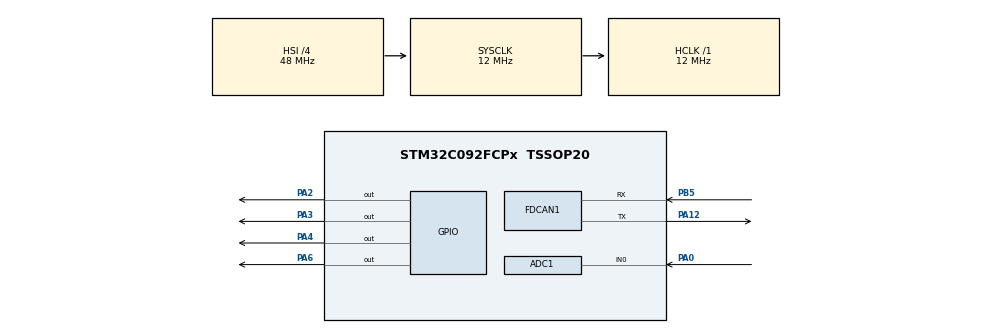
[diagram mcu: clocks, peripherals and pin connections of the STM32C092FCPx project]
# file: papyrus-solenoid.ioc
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ADC1.ClockPrescaler=ADC_CLOCK_SYNC_PCLK_DIV4
ADC1.ContinuousConvMode=DISABLE
ADC1.DMAContinuousRequests=ENABLE
ADC1.EOCSelection=ADC_EOC_SEQ_CONV
ADC1.ExternalTrigConv=ADC_EXTERNALTRIG_T2_TRGO
ADC1.NbrOfConversionFlag=0
ADC1.Overrun=ADC_OVR_DATA_OVERWRITTEN
ADC1.SamplingTimeCommon1=ADC_SAMPLETIME_79CYCLES_5
ADC1.SelectedChannel=ADC_CHANNEL_0|ADC_CHANNEL_VREFINT
ADC1.master=1
Dma.ADC1.0.Direction=DMA_PERIPH_TO_MEMORY
Dma.ADC1.0.EventEnable=DISABLE
Dma.ADC1.0.Instance=DMA1_Channel1
Dma.ADC1.0.MemDataAlignment=DMA_MDATAALIGN_HALFWORD
Dma.ADC1.0.MemInc=DMA_MINC_ENABLE
Dma.ADC1.0.Mode=DMA_CIRCULAR
Dma.ADC1.0.PeriphDataAlignment=DMA_PDATAALIGN_HALFWORD
Dma.ADC1.0.PeriphInc=DMA_PINC_DISABLE
Dma.ADC1.0.Polarity=HAL_DMAMUX_REQ_GEN_RISING
Dma.ADC1.0.Priority=DMA_PRIORITY_LOW
Dma.ADC1.0.RequestNumber=1
Dma.ADC1.0.SignalID=NONE
Dma.ADC1.0.SyncEnable=DISABLE
Dma.ADC1.0.SyncPolarity=HAL_DMAMUX_SYNC_NO_EVENT
Dma.ADC1.0.SyncRequestNumber=1
Dma.ADC1.0.SyncSignalID=NONE
Dma.Request0=ADC1
FDCAN1.AutoRetransmission=ENABLE
FDCAN1.CalculateBaudRateNominal=250000
FDCAN1.CalculateTimeBitNominal=4000
FDCAN1.CalculateTimeQuantumNominal=250.0
FDCAN1.DataPrescaler=1
FDCAN1.DataTimeSeg1=1
FDCAN1.DataTimeSeg2=1
FDCAN1.NominalPrescaler=4
FDCAN1.NominalTimeSeg1=13
FDCAN1.NominalTimeSeg2=2
FDCAN1.StdFiltersNbr=1
Mcu.Family=STM32C0
Mcu.Name=STM32C092FCPx
Mcu.Package=TSSOP20
NVIC.DMA1_Channel1_IRQn=true\:0\:0\:false\:false\:true\:false\:true\:true
PA0.Mode=IN0
PA0.Signal=ADC1_IN0
PA12\ [PA10].Mode=FDCAN_Activate
PA12\ [PA10].Signal=FDCAN1_TX
PA13.Mode=Serial_Wire
PA13.Signal=DEBUG_SWDIO
PA14-BOOT0.Mode=Serial_Wire
PA14-BOOT0.Signal=DEBUG_SWCLK
PA14-BOOT0__PA15.StandardMode=true
PA2.GPIO_PuPd=GPIO_PULLUP
PA2.PinState=GPIO_PIN_SET
PA2.Signal=GPIO_Output
PA3.GPIO_PuPd=GPIO_PULLUP
PA3.PinState=GPIO_PIN_SET
PA3.Signal=GPIO_Output
PA4.GPIO_PuPd=GPIO_PULLUP
PA4.PinState=GPIO_PIN_SET
PA4.Signal=GPIO_Output
PA6.Signal=GPIO_Output
PB0__PB1__PB2__PA8.StandardMode=true
PB3__PB4__PB5__PB6.StandardMode=true
PB5.Mode=FDCAN_Activate
PB5.Signal=FDCAN1_RX
PB7__PB8.StandardMode=true
ProjectManager.HeapSize=0x200
ProjectManager.StackSize=0x400
ProjectManager.TargetToolchain=Makefile
RCC.ADCFreq_Value=12000000
RCC.AHBFreq_Value=12000000
RCC.CortexFreq_Value=12000000
RCC.EXTERNAL_CLOCK_VALUE=12288000
RCC.FDCAN1CLockSelection=RCC_FDCAN1CLKSOURCE_HSIKER
RCC.HCLKFreq_Value=12000000
RCC.HSE_VALUE=8000000
RCC.HSI_VALUE=48000000
RCC.LSE_VALUE=32768
RCC.SYSCLKFreq_VALUE=12000000
TIM2.AutoReloadPreload=TIM_AUTORELOAD_PRELOAD_ENABLE
TIM2.Period=49999
TIM2.Prescaler=25
TIM2.TIM_MasterOutputTrigger=TIM_TRGO_UPDATE
VP_ADC1_Vref_Input.Mode=IN-Vrefint
VP_TIM2_VS_ClockSourceITR.Mode=TriggerSource_ITR0
board=custom

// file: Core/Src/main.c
/* USER CODE BEGIN Header */
/**
  ******************************************************************************
  * @file           : main.c
  * @brief          : Main program body
  ******************************************************************************
  * @attention
  *
  * Copyright (c) 2026 STMicroelectronics.
  * All rights reserved.
  *
  * This software is licensed under terms that can be found in the LICENSE file
  * in the root directory of this software component.
  * If no LICENSE file comes with this software, it is provided AS-IS.
  *
  ******************************************************************************
  */
/* USER CODE END Header */
#include "main.h"

/* USER CODE BEGIN Includes */
#include <string.h>

/* USER CODE END Includes */

/* USER CODE BEGIN PD */

#define CAN_CMD_ID     105
/* USER CODE END PD */

ADC_HandleTypeDef hadc1;
DMA_HandleTypeDef hdma_adc1;

FDCAN_HandleTypeDef hfdcan1;

TIM_HandleTypeDef htim2;

void SystemClock_Config(void);
static void MX_GPIO_Init(void);
static void MX_DMA_Init(void);
static void MX_FDCAN1_Init(void);
static void MX_ADC1_Init(void);
static void MX_TIM2_Init(void);
/* USER CODE BEGIN PFP */

void CAN_Send(uint8_t cmd);
void Process_UART_Command(char *cmd);
/* USER CODE END PFP */

/* USER CODE BEGIN 0 */
void Process_UART_Command(char *cmd)
{
  // HAL_GPIO_TogglePin(GPIOA, GPIO_PIN_2);
  if (!strcmp(cmd, "r1 on"))       CAN_Send(0x01);
  else if (!strcmp(cmd, "r1 off")) CAN_Send(0x02);
  else if (!strcmp(cmd, "r2 on"))  CAN_Send(0x03);
  else if (!strcmp(cmd, "r2 off")) CAN_Send(0x04);
  else if (!strcmp(cmd, "r3 on"))  CAN_Send(0x05);
  else if (!strcmp(cmd, "r3 off")) CAN_Send(0x06);
  else if (!strcmp(cmd, "get r1")) CAN_Send(0x10);
  else if (!strcmp(cmd, "get r2")) CAN_Send(0x11);
  else if (!strcmp(cmd, "get r3")) CAN_Send(0x12);
  else if (!strcmp(cmd, "get all"))CAN_Send(0x13);
  else if (!strcmp(cmd, "reset"))  CAN_Send(0xFF);
  //else UART_Print("Unknown command\r\n");
}
void CAN_Send(uint8_t cmd)
{
  FDCAN_TxHeaderTypeDef txHeader = {0};
  FDCAN_RxHeaderTypeDef rxHeader;
  uint8_t txData[8] = {cmd};
  uint8_t rxData[8];

  txHeader.Identifier = CAN_CMD_ID;
  txHeader.IdType = FDCAN_STANDARD_ID;
  txHeader.TxFrameType = FDCAN_DATA_FRAME;
  txHeader.DataLength = FDCAN_DLC_BYTES_1;
  txHeader.FDFormat = FDCAN_CLASSIC_CAN;
  txHeader.BitRateSwitch = FDCAN_BRS_OFF;

  HAL_FDCAN_AddMessageToTxFifoQ(&hfdcan1, &txHeader, txData);

  return;
}
void CAN_SendAck(uint8_t *data, uint8_t len)
{
  FDCAN_TxHeaderTypeDef txHeader = {0};

  txHeader.Identifier = CAN_CMD_ID;
  txHeader.IdType = FDCAN_STANDARD_ID;
  txHeader.TxFrameType = FDCAN_DATA_FRAME;
  txHeader.DataLength = len;
  txHeader.ErrorStateIndicator = FDCAN_ESI_ACTIVE;
  txHeader.BitRateSwitch = FDCAN_BRS_OFF;
  txHeader.FDFormat = FDCAN_CLASSIC_CAN;
  txHeader.TxEventFifoControl = FDCAN_NO_TX_EVENTS;
  txHeader.MessageMarker = 0;

  while (HAL_FDCAN_GetTxFifoFreeLevel(&hfdcan1) == 0);
  HAL_FDCAN_AddMessageToTxFifoQ(&hfdcan1, &txHeader, data);
}
uint16_t adc_raw[2];
uint16_t vref_mV;
uint16_t vin_mV;
void HAL_ADC_ConvCpltCallback(ADC_HandleTypeDef* hadc)
{
  if (hadc->Instance == ADC1)
  {
    uint32_t vref_raw = adc_raw[1];
    uint32_t vin_raw  = adc_raw[0];

    uint32_t vrefint_cal = *VREFINT_CAL_ADDR;

    // Compute actual VDD in mV
    vref_mV = (VREFINT_CAL_VREF * vrefint_cal) / vref_raw;

    // Convert channels to mV
    vin_mV = (vin_raw * vref_mV) / 4095;
  }
}
/* USER CODE END 0 */

int main(void)
{

  /* MCU Configuration--------------------------------------------------------*/

  /* Reset of all peripherals, Initializes the Flash interface and the Systick. */
  HAL_Init();

  /* Configure the system clock */
  SystemClock_Config();

  /* Initialize all configured peripherals */
  MX_GPIO_Init();
  MX_DMA_Init();
  MX_FDCAN1_Init();
  MX_ADC1_Init();
  MX_TIM2_Init();
  /* USER CODE BEGIN 2 */

  HAL_FDCAN_Start(&hfdcan1);
  HAL_ADCEx_Calibration_Start(&hadc1);
  HAL_ADC_Start_DMA(&hadc1, (uint32_t*)adc_raw, 2);
  HAL_TIM_Base_Start(&htim2);

  FDCAN_RxHeaderTypeDef rxHeader;
  uint8_t rxData[8];
  uint8_t txData[8];

  // while(1){
  // HAL_GPIO_WritePin(GPIOA, GPIO_PIN_2, GPIO_PIN_RESET);
  // HAL_Delay(500);
  // HAL_GPIO_WritePin(GPIOA, GPIO_PIN_3, GPIO_PIN_RESET);
  // HAL_Delay(500);
  // HAL_GPIO_WritePin(GPIOA, GPIO_PIN_4, GPIO_PIN_RESET);
  // HAL_Delay(1000);
  // HAL_GPIO_WritePin(GPIOA, GPIO_PIN_2, GPIO_PIN_SET);
  // HAL_Delay(500);
  // HAL_GPIO_WritePin(GPIOA, GPIO_PIN_3, GPIO_PIN_SET);
  // HAL_Delay(500);
  // HAL_GPIO_WritePin(GPIOA, GPIO_PIN_4, GPIO_PIN_SET);
  // }

  /* USER CODE END 2 */

  /* Infinite loop */
  while (1)
  {

    /* USER CODE BEGIN 3 */
    // txData[0] = 0x00;
    // txData[1] ^= 1; // OK
    // CAN_SendAck(txData, 2);
    // HAL_Delay(500);

    if (HAL_FDCAN_GetRxFifoFillLevel(&hfdcan1, FDCAN_RX_FIFO0) > 0)
    {
      HAL_FDCAN_GetRxMessage(&hfdcan1, FDCAN_RX_FIFO0, &rxHeader, rxData);

      txData[0] = rxData[0];
      txData[1] = 0x00; // OK

      switch (rxData[0])
      {
        case 0x00:
          txData[1] = 0x01; break;
        case 0x01: HAL_GPIO_WritePin(GPIOA, GPIO_PIN_2, GPIO_PIN_RESET);   break;
        case 0x02: HAL_GPIO_WritePin(GPIOA, GPIO_PIN_2, GPIO_PIN_SET); break;
        case 0x03: HAL_GPIO_WritePin(GPIOA, GPIO_PIN_3, GPIO_PIN_RESET);   break;
        case 0x04: HAL_GPIO_WritePin(GPIOA, GPIO_PIN_3, GPIO_PIN_SET); break;
        case 0x05: HAL_GPIO_WritePin(GPIOA, GPIO_PIN_4, GPIO_PIN_RESET);   break;
        case 0x06: HAL_GPIO_WritePin(GPIOA, GPIO_PIN_4, GPIO_PIN_SET); break;

        case 0x10: // Relay 1 state
          txData[1] = !HAL_GPIO_ReadPin(GPIOA, GPIO_PIN_2);
          CAN_SendAck(txData, 2);
          continue;

        case 0x11: // Relay 2 state
          txData[1] = !HAL_GPIO_ReadPin(GPIOA, GPIO_PIN_3);
          CAN_SendAck(txData, 2);
          continue;

        case 0x12: // Relay 3 state
          txData[1] = !HAL_GPIO_ReadPin(GPIOA, GPIO_PIN_4);
          CAN_SendAck(txData, 2);
          continue;

        case 0x13: // All relay states
          txData[1] = !HAL_GPIO_ReadPin(GPIOA, GPIO_PIN_2);
          txData[2] = !HAL_GPIO_ReadPin(GPIOA, GPIO_PIN_3);
          txData[3] = !HAL_GPIO_ReadPin(GPIOA, GPIO_PIN_4);
          CAN_SendAck(txData, 4);
          continue;
        case 0x20: // Read Power
          *((uint16_t*)(txData+1)) = vin_mV * 11;
          *((uint16_t*)(txData+3)) = vref_mV;
          CAN_SendAck(txData, 5);
          continue;
        case 0xFF:
          CAN_SendAck(txData, 2);
          HAL_Delay(10);
          NVIC_SystemReset();
          break;

        default:
          continue;
      }

      CAN_SendAck(txData, 2);
    }
  }
  /* USER CODE END 3 */
}

void SystemClock_Config(void)
{
  RCC_OscInitTypeDef RCC_OscInitStruct = {0};
  RCC_ClkInitTypeDef RCC_ClkInitStruct = {0};

  __HAL_FLASH_SET_LATENCY(FLASH_LATENCY_0);

  /** Initializes the RCC Oscillators according to the specified parameters
  * in the RCC_OscInitTypeDef structure.
  */
  RCC_OscInitStruct.OscillatorType = RCC_OSCILLATORTYPE_HSI;
  RCC_OscInitStruct.HSIState = RCC_HSI_ON;
  RCC_OscInitStruct.HSIDiv = RCC_HSI_DIV4;
  RCC_OscInitStruct.HSICalibrationValue = RCC_HSICALIBRATION_DEFAULT;
  if (HAL_RCC_OscConfig(&RCC_OscInitStruct) != HAL_OK)
  {
    Error_Handler();
  }

  /** Initializes the CPU, AHB and APB buses clocks
  */
  RCC_ClkInitStruct.ClockType = RCC_CLOCKTYPE_HCLK|RCC_CLOCKTYPE_SYSCLK
                              |RCC_CLOCKTYPE_PCLK1;
  RCC_ClkInitStruct.SYSCLKSource = RCC_SYSCLKSOURCE_HSI;
  RCC_ClkInitStruct.SYSCLKDivider = RCC_SYSCLK_DIV1;
  RCC_ClkInitStruct.AHBCLKDivider = RCC_HCLK_DIV1;
  RCC_ClkInitStruct.APB1CLKDivider = RCC_APB1_DIV1;

  if (HAL_RCC_ClockConfig(&RCC_ClkInitStruct, FLASH_LATENCY_0) != HAL_OK)
  {
    Error_Handler();
  }
}

static void MX_ADC1_Init(void)
{

  ADC_ChannelConfTypeDef sConfig = {0};

  /** Configure the global features of the ADC (Clock, Resolution, Data Alignment and number of conversion)
  */
  hadc1.Instance = ADC1;
  hadc1.Init.ClockPrescaler = ADC_CLOCK_SYNC_PCLK_DIV4;
  hadc1.Init.Resolution = ADC_RESOLUTION_12B;
  hadc1.Init.DataAlign = ADC_DATAALIGN_RIGHT;
  hadc1.Init.ScanConvMode = ADC_SCAN_SEQ_FIXED;
  hadc1.Init.EOCSelection = ADC_EOC_SEQ_CONV;
  hadc1.Init.LowPowerAutoWait = DISABLE;
  hadc1.Init.LowPowerAutoPowerOff = DISABLE;
  hadc1.Init.ContinuousConvMode = DISABLE;
  hadc1.Init.NbrOfConversion = 1;
  hadc1.Init.DiscontinuousConvMode = DISABLE;
  hadc1.Init.ExternalTrigConv = ADC_EXTERNALTRIG_T2_TRGO;
  hadc1.Init.ExternalTrigConvEdge = ADC_EXTERNALTRIGCONVEDGE_RISING;
  hadc1.Init.DMAContinuousRequests = ENABLE;
  hadc1.Init.Overrun = ADC_OVR_DATA_OVERWRITTEN;
  hadc1.Init.SamplingTimeCommon1 = ADC_SAMPLETIME_79CYCLES_5;
  hadc1.Init.OversamplingMode = DISABLE;
  hadc1.Init.TriggerFrequencyMode = ADC_TRIGGER_FREQ_HIGH;
  if (HAL_ADC_Init(&hadc1) != HAL_OK)
  {
    Error_Handler();
  }

  /** Configure Regular Channel
  */
  sConfig.Channel = ADC_CHANNEL_0;
  sConfig.Rank = ADC_RANK_CHANNEL_NUMBER;
  if (HAL_ADC_ConfigChannel(&hadc1, &sConfig) != HAL_OK)
  {
    Error_Handler();
  }

  /** Configure Regular Channel
  */
  sConfig.Channel = ADC_CHANNEL_VREFINT;
  if (HAL_ADC_ConfigChannel(&hadc1, &sConfig) != HAL_OK)
  {
    Error_Handler();
  }

}

static void MX_FDCAN1_Init(void)
{

  hfdcan1.Instance = FDCAN1;
  hfdcan1.Init.ClockDivider = FDCAN_CLOCK_DIV1;
  hfdcan1.Init.FrameFormat = FDCAN_FRAME_CLASSIC;
  hfdcan1.Init.Mode = FDCAN_MODE_NORMAL;
  hfdcan1.Init.AutoRetransmission = ENABLE;
  hfdcan1.Init.TransmitPause = DISABLE;
  hfdcan1.Init.ProtocolException = DISABLE;
  hfdcan1.Init.NominalPrescaler = 4;
  hfdcan1.Init.NominalSyncJumpWidth = 1;
  hfdcan1.Init.NominalTimeSeg1 = 13;
  hfdcan1.Init.NominalTimeSeg2 = 2;
  hfdcan1.Init.DataPrescaler = 1;
  hfdcan1.Init.DataSyncJumpWidth = 1;
  hfdcan1.Init.DataTimeSeg1 = 1;
  hfdcan1.Init.DataTimeSeg2 = 1;
  hfdcan1.Init.StdFiltersNbr = 1;
  hfdcan1.Init.ExtFiltersNbr = 0;
  hfdcan1.Init.TxFifoQueueMode = FDCAN_TX_FIFO_OPERATION;
  if (HAL_FDCAN_Init(&hfdcan1) != HAL_OK)
  {
    Error_Handler();
  }
  /* USER CODE BEGIN FDCAN1_Init 2 */
  FDCAN_FilterTypeDef filter = {0};
  filter.IdType = FDCAN_STANDARD_ID;
  filter.FilterIndex = 0;
  filter.FilterType = FDCAN_FILTER_DUAL;
  filter.FilterConfig = FDCAN_FILTER_TO_RXFIFO0;
  filter.FilterID1 = CAN_CMD_ID;
  filter.FilterID2 = 0;
  HAL_FDCAN_ConfigFilter(&hfdcan1, &filter);
  HAL_FDCAN_ConfigGlobalFilter(
    &hfdcan1,
    FDCAN_REJECT,  // Non-matching standard frames
    FDCAN_REJECT,  // Non-matching extended frames
    FDCAN_REJECT,  // Reject remote standard frames
    FDCAN_REJECT   // Reject remote extended frames
  );

  /* USER CODE END FDCAN1_Init 2 */

}

static void MX_TIM2_Init(void)
{

  TIM_SlaveConfigTypeDef sSlaveConfig = {0};
  TIM_MasterConfigTypeDef sMasterConfig = {0};

  htim2.Instance = TIM2;
  htim2.Init.Prescaler = 25;
  htim2.Init.CounterMode = TIM_COUNTERMODE_UP;
  htim2.Init.Period = 49999;
  htim2.Init.ClockDivision = TIM_CLOCKDIVISION_DIV1;
  htim2.Init.AutoReloadPreload = TIM_AUTORELOAD_PRELOAD_ENABLE;
  if (HAL_TIM_Base_Init(&htim2) != HAL_OK)
  {
    Error_Handler();
  }
  sSlaveConfig.SlaveMode = TIM_SLAVEMODE_DISABLE;
  sSlaveConfig.InputTrigger = TIM_TS_ITR0;
  if (HAL_TIM_SlaveConfigSynchro(&htim2, &sSlaveConfig) != HAL_OK)
  {
    Error_Handler();
  }
  sMasterConfig.MasterOutputTrigger = TIM_TRGO_UPDATE;
  sMasterConfig.MasterSlaveMode = TIM_MASTERSLAVEMODE_DISABLE;
  if (HAL_TIMEx_MasterConfigSynchronization(&htim2, &sMasterConfig) != HAL_OK)
  {
    Error_Handler();
  }

}

static void MX_DMA_Init(void)
{

  /* DMA controller clock enable */
  __HAL_RCC_DMA1_CLK_ENABLE();

  /* DMA interrupt init */
  /* DMA1_Channel1_IRQn interrupt configuration */
  HAL_NVIC_SetPriority(DMA1_Channel1_IRQn, 0, 0);
  HAL_NVIC_EnableIRQ(DMA1_Channel1_IRQn);

}

static void MX_GPIO_Init(void)
{
  GPIO_InitTypeDef GPIO_InitStruct = {0};

  /* GPIO Ports Clock Enable */
  __HAL_RCC_GPIOA_CLK_ENABLE();
  __HAL_RCC_GPIOB_CLK_ENABLE();

  /*Configure GPIO pin Output Level */
  HAL_GPIO_WritePin(GPIOA, GPIO_PIN_2|GPIO_PIN_3|GPIO_PIN_4, GPIO_PIN_SET);

  /*Configure GPIO pin Output Level */
  HAL_GPIO_WritePin(GPIOA, GPIO_PIN_6, GPIO_PIN_RESET);

  /*Configure GPIO pins : PA2 PA3 PA4 */
  GPIO_InitStruct.Pin = GPIO_PIN_2|GPIO_PIN_3|GPIO_PIN_4;
  GPIO_InitStruct.Mode = GPIO_MODE_OUTPUT_PP;
  GPIO_InitStruct.Pull = GPIO_PULLUP;
  GPIO_InitStruct.Speed = GPIO_SPEED_FREQ_LOW;
  HAL_GPIO_Init(GPIOA, &GPIO_InitStruct);

  /*Configure GPIO pin : PA6 */
  GPIO_InitStruct.Pin = GPIO_PIN_6;
  GPIO_InitStruct.Mode = GPIO_MODE_OUTPUT_PP;
  GPIO_InitStruct.Pull = GPIO_NOPULL;
  GPIO_InitStruct.Speed = GPIO_SPEED_FREQ_LOW;
  HAL_GPIO_Init(GPIOA, &GPIO_InitStruct);

}

void Error_Handler(void)
{
  __disable_irq();
  while (1)
  {
  }
}
